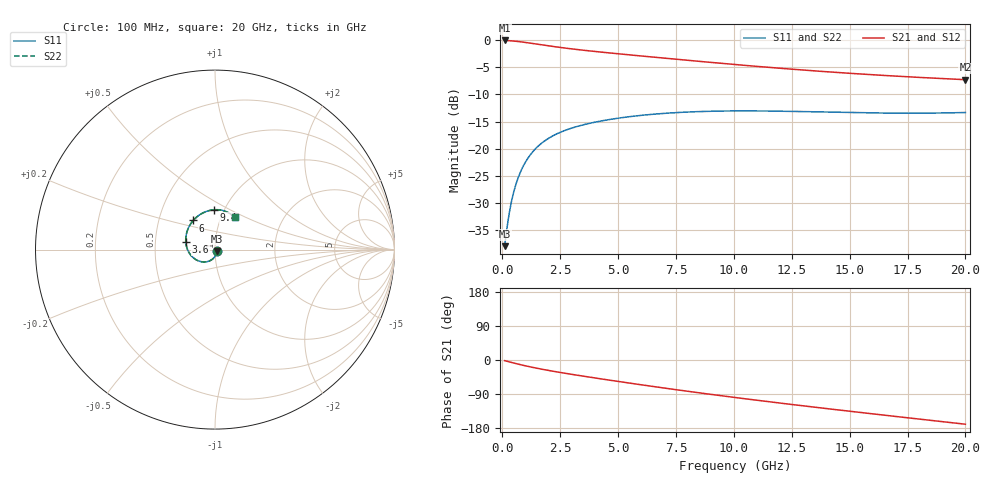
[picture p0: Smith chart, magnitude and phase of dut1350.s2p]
! Touchstone file exported from HFSS 2024.1.0
!  File:  C:/UserFiles/LocalFiles/RDL_TSV_Batchsim/temp_RDL_TSV_1350_1780393925.aedt
!  Generated:  06:02:33 PM Jun  2, 2026
!  Design:  RDL_TSV
!  Project:  temp_RDL_TSV_1350_1780393925
!  Setup:  Setup1
!  Solution:  Sweep
! Variables:
!  dtsv = 14.95um
!  hbump = 3um
!  htsv = 78.93um
!  ldown = 103.81um
!  lrdl = 461.29um
!  p = 40
!  p1 = 41.4um
!  rhole = 10um
!  subl = 2156.59um
!  t = 450um
!  tdown = 3.99um
!  trdl = 3.46um
!  viad = 10um
!  wdown = 10.65um
!  wrdl = 26.78um
!  xbump = 18um
# GHz S MA R 50.000000
! Terminal data exported
! Port[1] = TM1_1_T1
! Port[2] = TM1_4_T1
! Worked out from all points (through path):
!   200 points, 100 MHz to 20 GHz, reference 50 ohm
!   highest |S21| = -0.10 dB at 100 MHz (marker M1); lowest = -7.3 dB at 20 GHz (marker M2)
!   group delay of S21, straight-line fit = 22.4 ps
!   lowest |S11| = -37.9 dB at 100 MHz (marker M3), VSWR 1.03, Z = 51 - j0.819 ohm
!   |S11| at or under -10 dB: start of sweep to end of sweep
!   |S22| runs from -37.9 to -13.1 dB; largest |S21 - S12| = 1.2e-14
!   S11 on the Smith chart (normalised r, x): 100 MHz: 1.02, -0.02; 3.6 GHz: 0.72, +0.06; 6 GHz: 0.75, +0.25; 9.4 GHz: 0.89, +0.42; 20 GHz: 1.16, +0.45
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0.1  0.01274 -39.0  0.989 -1.7  0.989 -1.7  0.01275 -39.1
! Gamma 0 0 0 0
! Port Impedance 50 0 50 0
0.2  0.01857 -61.7  0.9869 -3.3  0.9869 -3.3  0.01858 -61.7
0.3  0.02563 -75.3  0.984 -4.9  0.984 -4.9  0.02563 -75.3
0.4  0.03309 -85.0  0.9804 -6.5  0.9804 -6.5  0.03309 -85.0
0.5  0.04061 -92.7  0.9762 -8.1  0.9762 -8.1  0.04061 -92.7
0.6  0.04802 -99.2  0.9715 -9.6  0.9715 -9.6  0.04802 -99.2
0.8  0.06224 -110.3  0.9608 -12.5  0.9608 -12.5  0.06224 -110.3
1.1  0.08158 -124.1  0.9422 -16.7  0.9422 -16.7  0.08157 -124.1
1.5  0.1034 -139.6  0.9153 -21.8  0.9153 -21.8  0.1033 -139.6
2  0.1249 -155.8  0.8826 -27.6  0.8826 -27.6  0.1248 -155.8
2.7  0.1473 -174.7  0.8424 -34.9  0.8424 -34.9  0.1472 -174.7
3.5  0.1661 167.5  0.8043 -42.7  0.8043 -42.7  0.1659 167.5
3.6  0.1681 165.5  0.8 -43.6  0.8 -43.6  0.1679 165.5
4.8  0.1882 144.1  0.7533 -54.7  0.7533 -54.7  0.188 144.2
6  0.2028 126.8  0.7121 -65.4  0.7121 -65.4  0.2025 126.8
6.8  0.2101 116.9  0.6865 -72.4  0.6865 -72.4  0.2097 116.9
9.4  0.222 91.9  0.6113 -93.8  0.6113 -93.8  0.2215 91.9
10.1  0.2228 86.8  0.5932 -99.3  0.5932 -99.3  0.2223 86.8
11.7  0.2219 77.1  0.5556 -111.5  0.5556 -111.5  0.2215 77.1
13.4  0.2187 69.6  0.5212 -123.9  0.5212 -123.9  0.2182 69.5
16.7  0.2126 61.5  0.469 -147.0  0.469 -147.0  0.2121 61.4
20  0.2154 58.7  0.4314 -169.5  0.4314 -169.5  0.2148 58.5
